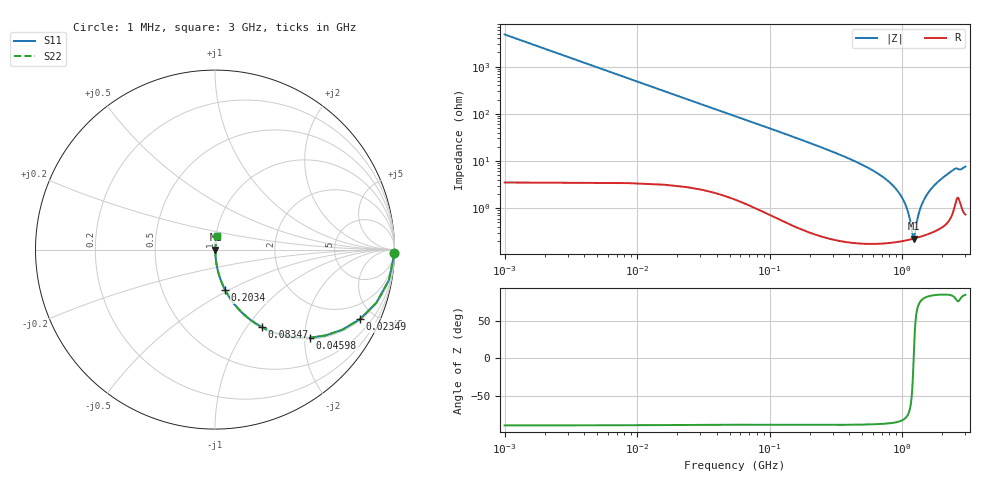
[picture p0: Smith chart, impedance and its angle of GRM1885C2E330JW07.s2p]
!Murata Part Number: GRM1885C2E330JW07
!These Parameters are Measured in Series Mode Connection
!Data Generated on Mar 30, 2021
!  o--ll--o
!Port1  Port2
!  o------o
!Operation Temp=25[degC], DC Bias Voltage=0[V]
!Freq. Start=1000[kHz] Stop=3[GHz] 401[Steps]
# Hz S RI R 50
!Freq.(Hz) S11(Real) S11(Imag) S21(Real) S21(Imag) S12(Real) S12(Imag) S22(Real) S22(Imag)
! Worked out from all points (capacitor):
!   401 points, 1 MHz to 3 GHz, reference 50 ohm
!   read as one part in series: C = 32.8 pF near 15.99 MHz
!   lowest |Z| = 225 mohm at 1.223 GHz (marker M1)
!   series resonance near 1.221 GHz, so ESL is about 520 pH
!   S11 on the Smith chart (normalised r, x): 1 MHz: 1, -96; 23.49 MHz: 1.06, -4.13; 45.98 MHz: 1.04, -2.13; 83.47 MHz: 1.02, -1.18; 203.4 MHz: 1.01, -0.47; 3 GHz: 1.01, +0.15
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1000000  0.9996 -0.0207  0.000445 0.0207  0.000445 0.0207  0.9996 -0.0207
2.34925e7  0.8069 -0.388  0.1931 0.388  0.1931 0.388  0.8069 -0.388
3.099e7  0.7087 -0.4467  0.2913 0.4467  0.2913 0.4467  0.7087 -0.4467
4.5985e7  0.5306 -0.4907  0.4694 0.4907  0.4694 0.4907  0.5306 -0.4907
8.34725e7  0.2609 -0.4315  0.7391 0.4315  0.7391 0.4315  0.2609 -0.4315
1.284575e8  0.1305 -0.3303  0.8695 0.3303  0.8695 0.3303  0.1305 -0.3303
2.034325e8  0.0559 -0.2235  0.9441 0.2235  0.9441 0.2235  0.0559 -0.2235
5.033325e8  0.0084 -0.0812  0.9916 0.0812  0.9916 0.0812  0.0084 -0.0812
8.25725e8  0.00289 -0.0325  0.9971 0.0325  0.9971 0.0325  0.00289 -0.0325
1.005665e9  0.00223 -0.0158  0.9978 0.0158  0.9978 0.0158  0.00223 -0.0158
1.11063e9  0.00216 -0.00768  0.9978 0.00768  0.9978 0.00768  0.00216 -0.00768
1.2006e9  0.00221 -0.00134  0.9978 0.00134  0.9978 0.00134  0.00221 -0.00134
1.223092e9  0.00224 0.000166  0.9978 -0.000166  0.9978 -0.000166  0.00224 0.000166
1.298068e9  0.00237 0.00501  0.9976 -0.00501  0.9976 -0.00501  0.00237 0.00501
1.343052e9  0.00247 0.00779  0.9975 -0.00779  0.9975 -0.00779  0.00247 0.00779
1.41053e9  0.00265 0.0118  0.9973 -0.0118  0.9973 -0.0118  0.00265 0.0118
1.5005e9  0.00295 0.0169  0.997 -0.0169  0.997 -0.0169  0.00295 0.0169
1.71043e9  0.00386 0.028  0.9961 -0.028  0.9961 -0.028  0.00386 0.028
2.002832e9  0.00568 0.0423  0.9943 -0.0423  0.9943 -0.0423  0.00568 0.0423
2.505165e9  0.0157 0.0653  0.9843 -0.0653  0.9843 -0.0653  0.0157 0.0653
2.737588e9  0.0166 0.0627  0.9834 -0.0627  0.9834 -0.0627  0.0166 0.0627
3e9  0.0128 0.0741  0.9872 -0.0741  0.9872 -0.0741  0.0128 0.0741
